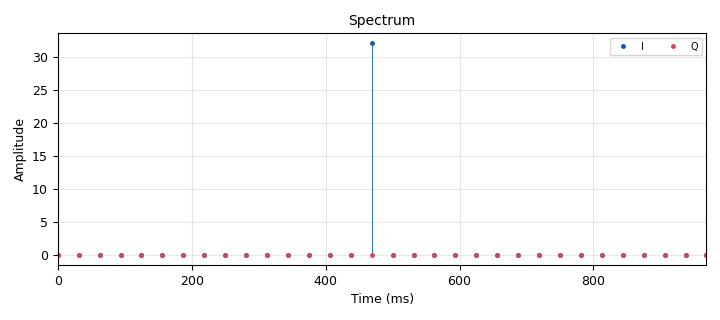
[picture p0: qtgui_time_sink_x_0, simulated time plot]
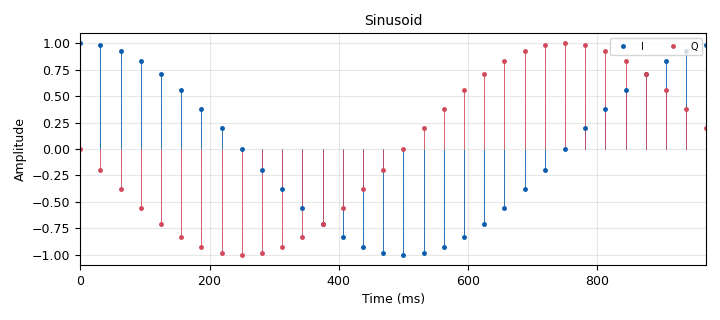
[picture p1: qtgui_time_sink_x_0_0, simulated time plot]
options:
  parameters:
    author: Qasim Chaudhari
    generate_options: qt_gui
    id: going_into_frequency_domain
    output_language: python
    title: Going into Frequency Domain
  states: {}

blocks:
- name: nfft
  id: variable
  parameters:
    value: '32'
  states: {}
- name: samp_rate
  id: variable
  parameters:
    value: '32'
  states: {}
- name: analog_sig_source_x_0
  id: analog_sig_source_x
  parameters:
    amp: '1'
    freq: '-1'
    offset: '0'
    phase: 0*pi/2
    samp_rate: samp_rate
    type: complex
    waveform: analog.GR_COS_WAVE
  states: {}
- name: analog_sig_source_x_0_0
  id: analog_sig_source_x
  parameters:
    amp: '1'
    freq: '1'
    offset: '0'
    phase: 0*pi/2
    samp_rate: samp_rate
    type: float
    waveform: analog.GR_SIN_WAVE
  states: {state: disabled}
- name: blocks_float_to_complex_0_0
  id: blocks_float_to_complex
  parameters: {}
  states: {state: disabled}
- name: blocks_stream_to_vector_0
  id: blocks_stream_to_vector
  parameters:
    num_items: '32'
    type: complex
  states: {}
- name: blocks_stream_to_vector_0_0
  id: blocks_stream_to_vector
  parameters:
    num_items: nfft
    type: complex
  states: {state: disabled}
- name: blocks_throttle_0
  id: blocks_throttle
  parameters:
    samples_per_second: '8000'
    type: complex
  states: {}
- name: blocks_throttle_0_0
  id: blocks_throttle
  parameters:
    samples_per_second: '8000'
    type: float
  states: {state: disabled}
- name: blocks_vector_to_stream_0
  id: blocks_vector_to_stream
  parameters:
    num_items: '32'
    type: complex
  states: {}
- name: blocks_vector_to_stream_0_0
  id: blocks_vector_to_stream
  parameters:
    num_items: nfft
    type: complex
  states: {state: disabled}
- name: fft_vxx_0
  id: fft_vxx
  parameters:
    fft_size: nfft
    forward: 'True'
    shift: 'True'
    type: complex
    window: window.rectangular(nfft)
  states: {}
- name: fft_vxx_0_0
  id: fft_vxx
  parameters:
    fft_size: nfft
    forward: 'True'
    shift: 'True'
    type: complex
    window: window.rectangular(nfft)
  states: {state: disabled}
- name: import_0
  id: import
  parameters:
    imports: "\n\nfrom math import pi"
  states: {}
- name: qtgui_time_sink_x_0
  id: qtgui_time_sink_x
  parameters:
    autoscale: 'True'
    axislabels: 'False'
    grid: 'True'
    gui_hint: 1,0,1,1
    label1: I
    label2: Q
    marker1: '0'
    marker2: '1'
    name: Spectrum
    size: '32'
    srate: samp_rate
    stemplot: 'True'
    type: complex
    update_time: '0.01'
  states: {}
- name: qtgui_time_sink_x_0_0
  id: qtgui_time_sink_x
  parameters:
    autoscale: 'True'
    grid: 'True'
    gui_hint: 0,0,1,1
    label1: I
    label2: Q
    marker1: '0'
    marker2: '0'
    name: Sinusoid
    size: nfft
    srate: samp_rate
    stemplot: 'True'
    type: complex
    update_time: '0.01'
  states: {}
- name: qtgui_time_sink_x_0_0_0
  id: qtgui_time_sink_x
  parameters:
    autoscale: 'True'
    axislabels: 'False'
    grid: 'True'
    gui_hint: 0,0,1,1
    label1: I
    marker1: '0'
    name: Sinusoid
    size: nfft
    srate: samp_rate
    stemplot: 'True'
    type: float
    update_time: '0.01'
  states: {state: disabled}
- name: qtgui_time_sink_x_0_1
  id: qtgui_time_sink_x
  parameters:
    autoscale: 'True'
    axislabels: 'False'
    grid: 'True'
    gui_hint: 1,0,1,1
    label1: I
    label2: Q
    marker1: '0'
    marker2: '1'
    name: Spectrum
    size: '32'
    srate: samp_rate
    stemplot: 'True'
    type: complex
    update_time: '0.01'
  states: {state: disabled}

connections:
- [analog_sig_source_x_0, '0', blocks_throttle_0, '0']
- [analog_sig_source_x_0_0, '0', blocks_throttle_0_0, '0']
- [blocks_float_to_complex_0_0, '0', blocks_stream_to_vector_0_0, '0']
- [blocks_stream_to_vector_0, '0', fft_vxx_0, '0']
- [blocks_stream_to_vector_0_0, '0', fft_vxx_0_0, '0']
- [blocks_throttle_0, '0', blocks_stream_to_vector_0, '0']
- [blocks_throttle_0, '0', qtgui_time_sink_x_0_0, '0']
- [blocks_throttle_0_0, '0', blocks_float_to_complex_0_0, '0']
- [blocks_throttle_0_0, '0', qtgui_time_sink_x_0_0_0, '0']
- [blocks_vector_to_stream_0, '0', qtgui_time_sink_x_0, '0']
- [blocks_vector_to_stream_0_0, '0', qtgui_time_sink_x_0_1, '0']
- [fft_vxx_0, '0', blocks_vector_to_stream_0, '0']
- [fft_vxx_0_0, '0', blocks_vector_to_stream_0_0, '0']

metadata:
  file_format: 1
